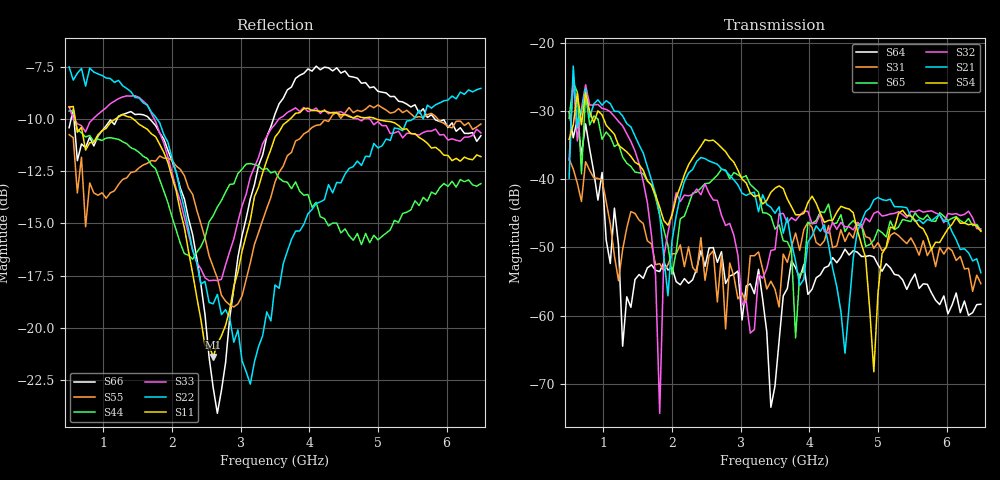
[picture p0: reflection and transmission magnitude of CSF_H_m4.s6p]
!Keysight Technologies,M9804A,MY58100912,A.14.10.03
!Date: Thursday, April 27, 2023 10:28:33
!Correction: S11(C  6-Port  )
!S12(C  6-Port  )
!S13(C  6-Port  )
!S14(C  6-Port  )
!S15(C  6-Port  )
!S16(C  6-Port  )
!S21(C  6-Port  )
!S22(C  6-Port  )
!S23(C  6-Port  )
!S24(C  6-Port  )
!S25(C  6-Port  )
!S26(C  6-Port  )
!S31(C  6-Port  )
!S32(C  6-Port  )
!S33(C  6-Port  )
!S34(C  6-Port  )
!S35(C  6-Port  )
!S36(C  6-Port  )
!S41(C  6-Port  )
!S42(C  6-Port  )
!S43(C  6-Port  )
!S44(C  6-Port  )
!S45(C  6-Port  )
!S46(C  6-Port  )
!S51(C  6-Port  )
!S52(C  6-Port  )
!S53(C  6-Port  )
!S54(C  6-Port  )
!S55(C  6-Port  )
!S56(C  6-Port  )
!S61(C  6-Port  )
!S62(C  6-Port  )
!S63(C  6-Port  )
!S64(C  6-Port  )
!S65(C  6-Port  )
!S66(C  6-Port  )
!S6P File: Measurement: :
# Hz S  RI  R 50
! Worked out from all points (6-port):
!   101 points, 500 MHz to 6.5 GHz, reference 50 ohm
!   strongest paths, dB at 500 MHz, 2 GHz, 3.5 GHz, 5 GHz, 6.5 GHz:
!     S54: -34.2, -45.3, -41.3, -56.8, -47.7
!     S21: -39.9, -49.0, -45.0, -42.7, -53.7
!     S32: -37.2, -45.0, -50.3, -44.7, -47.3
!     S65: -31.1, -53.9, -47.3, -47.4, -47.5
!     S31: -37.0, -50.9, -56.1, -49.3, -55.3
!     S64: -30.1, -53.0, -70.3, -52.5, -58.3
!   lowest |S11| = -21.4 dB at 2.6 GHz (marker M1), VSWR 1.19, Z = 42.4 + j2.2 ohm
!   |S11| at or under -10 dB: 589.8 MHz to 1.17 GHz (580.5 MHz wide, 66 % of centre); 1.437 GHz to 3.715 GHz (2.278 GHz wide, 88.4 % of centre); 4.984 GHz to end of sweep
